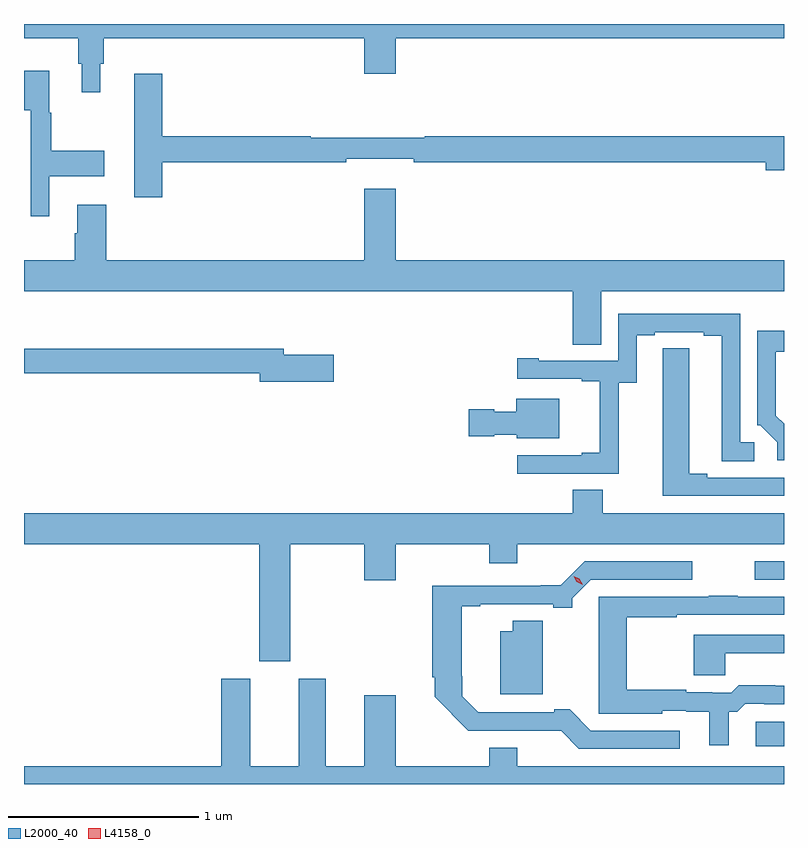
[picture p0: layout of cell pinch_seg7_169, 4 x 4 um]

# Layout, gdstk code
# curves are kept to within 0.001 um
import gdstk
lib = gdstk.Library(unit=1e-6, precision=1e-09)
def R(c, l, rs):  # rectangles x0, y0, x1, y1
    for r in rs: c.add(gdstk.rectangle(r[:2], r[2:], *l))
def P(c, l, *ps):  # polygons
    for p in ps: c.add(gdstk.Polygon(p, *l))
L2000_40 = (2000, 40)
L4158_0 = (4158, 0)

pinch_seg7_169 = lib.new_cell('pinch_seg7_169')
R(pinch_seg7_169, L2000_40, [(1126.107,1007.547,1126.256,1007.674), (1126.101,1008.423,1126.256,1008.519)])
P(pinch_seg7_169, L2000_40, [(1122.658,1011.138),(1122.677,1011.138),(1122.677,1011.272),(1124.048,1011.272),(1124.048,1011.084),(1124.212,1011.084),(1124.212,1011.272),(1126.256,1011.272),(1126.256,1011.347),(1122.256,1011.347),(1122.256,1011.272),(1122.541,1011.272),(1122.541,1011.138),(1122.56,1011.138),(1122.56,1010.988),(1122.658,1010.988)],
  [(1122.388,1010.546),(1122.679,1010.546),(1122.679,1010.681),(1122.4,1010.681),(1122.4,1010.88),(1122.388,1010.88),(1122.388,1011.1),(1122.256,1011.1),(1122.256,1010.894),(1122.291,1010.894),(1122.291,1010.334),(1122.388,1010.334)],
  [(1122.983,1010.62),(1123.952,1010.62),(1123.952,1010.639),(1124.308,1010.639),(1124.308,1010.62),(1126.16,1010.62),(1126.16,1010.578),(1126.256,1010.578),(1126.256,1010.756),(1124.366,1010.756),(1124.366,1010.749),(1123.766,1010.749),(1123.766,1010.756),(1122.983,1010.756),(1122.983,1011.085),(1122.836,1011.085),(1122.836,1010.436),(1122.983,1010.436)],
  [(1125.295,1009.94),(1126.256,1009.94),(1126.256,1010.104),(1124.212,1010.104),(1124.212,1010.479),(1124.048,1010.479),(1124.048,1010.104),(1122.689,1010.104),(1122.689,1010.395),(1122.536,1010.395),(1122.536,1010.246),(1122.524,1010.246),(1122.524,1010.104),(1122.256,1010.104),(1122.256,1009.94),(1125.143,1009.94),(1125.143,1009.66),(1125.295,1009.66)],
  [(1125.387,1009.459),(1125.481,1009.459),(1125.481,1009.71),(1125.577,1009.71),(1125.577,1009.725),(1125.833,1009.725),(1125.833,1009.705),(1125.929,1009.705),(1125.929,1009.045),(1126.099,1009.045),(1126.099,1009.146),(1126.026,1009.146),(1126.026,1009.821),(1125.384,1009.821),(1125.384,1009.575),(1124.965,1009.575),(1124.965,1009.588),(1124.853,1009.588),(1124.853,1009.479),(1125.191,1009.479),(1125.191,1009.467),(1125.287,1009.467),(1125.287,1009.09),(1125.191,1009.09),(1125.191,1009.077),(1124.853,1009.077),(1124.853,1008.981),(1125.387,1008.981)],
  [(1126.256,1009.243),(1126.213,1009.286),(1126.213,1009.623),(1126.256,1009.623),(1126.256,1009.733),(1126.116,1009.733),(1126.116,1009.236),(1126.131,1009.236),(1126.221,1009.146),(1126.221,1009.05),(1126.256,1009.05)],
  [(1126.256,1008.96),(1125.853,1008.96),(1125.853,1008.98),(1125.757,1008.98),(1125.757,1009.64),(1125.618,1009.64),(1125.618,1009.532),(1125.617,1009.532),(1125.617,1008.864),(1126.256,1008.864)],
  [(1123.885,1009.605),(1123.624,1009.605),(1123.624,1009.639),(1122.256,1009.639),(1122.256,1009.51),(1123.496,1009.51),(1123.496,1009.463),(1123.885,1009.463)],
  [(1125.073,1009.375),(1124.846,1009.375),(1124.846,1009.306),(1124.73,1009.306),(1124.73,1009.319),(1124.598,1009.319),(1124.598,1009.177),(1124.73,1009.177),(1124.73,1009.184),(1124.85,1009.184),(1124.85,1009.166),(1125.073,1009.166)],
  [(1123.657,1008.608),(1124.048,1008.608),(1124.048,1008.42),(1124.212,1008.42),(1124.212,1008.608),(1124.704,1008.608),(1124.704,1008.509),(1124.851,1008.509),(1124.851,1008.608),(1126.256,1008.608),(1126.256,1008.772),(1125.303,1008.772),(1125.303,1008.896),(1125.143,1008.896),(1125.143,1008.772),(1122.256,1008.772),(1122.256,1008.608),(1123.493,1008.608),(1123.493,1007.994),(1123.657,1007.994)],
  [(1125.706,1007.628),(1125.24,1007.628),(1125.128,1007.74),(1125.047,1007.74),(1125.047,1007.724),(1124.646,1007.724),(1124.563,1007.808),(1124.563,1007.914),(1124.56,1007.914),(1124.56,1008.282),(1124.656,1008.282),(1124.656,1008.294),(1125.041,1008.294),(1125.041,1008.274),(1125.141,1008.274),(1125.141,1008.324),(1125.24,1008.423),(1125.772,1008.423),(1125.772,1008.519),(1125.207,1008.519),(1125.08,1008.392),(1124.975,1008.392),(1124.975,1008.39),(1124.405,1008.39),(1124.405,1007.908),(1124.417,1007.908),(1124.417,1007.806),(1124.595,1007.628),(1125.083,1007.627),(1125.177,1007.532),(1125.706,1007.532)],
  [(1125.964,1007.726),(1126.01,1007.726),(1126.053,1007.769),(1126.153,1007.769),(1126.153,1007.766),(1126.256,1007.766),(1126.256,1007.863),(1126.211,1007.863),(1126.211,1007.866),(1126.018,1007.866),(1125.978,1007.826),(1125.878,1007.826),(1125.878,1007.829),(1125.741,1007.829),(1125.741,1007.842),(1125.429,1007.842),(1125.429,1008.225),(1125.692,1008.225),(1125.692,1008.237),(1126.256,1008.237),(1126.256,1008.333),(1126.013,1008.333),(1126.013,1008.338),(1125.859,1008.338),(1125.859,1008.333),(1125.281,1008.333),(1125.281,1007.717),(1125.615,1007.717),(1125.615,1007.733),(1125.741,1007.733),(1125.741,1007.726),(1125.863,1007.726),(1125.863,1007.55),(1125.964,1007.55)],
  [(1124.986,1008.205),(1124.828,1008.205),(1124.828,1008.151),(1124.762,1008.151),(1124.762,1007.819),(1124.986,1007.819)],
  [(1125.947,1008.035),(1126.256,1008.035),(1126.256,1008.132),(1125.781,1008.132),(1125.781,1007.919),(1125.947,1007.919)],
  [(1126.256,1007.44),(1124.851,1007.44),(1124.851,1007.539),(1124.704,1007.539),(1124.704,1007.44),(1124.212,1007.44),(1124.212,1007.815),(1124.048,1007.815),(1124.048,1007.44),(1123.843,1007.44),(1123.843,1007.902),(1123.703,1007.902),(1123.703,1007.44),(1123.447,1007.44),(1123.447,1007.902),(1123.295,1007.902),(1123.295,1007.44),(1122.256,1007.44),(1122.256,1007.347),(1126.256,1007.347)])
P(pinch_seg7_169, L4158_0, [(1125.197,1008.396),(1125.166,1008.411),(1125.149,1008.441),(1125.149,1008.441),(1125.149,1008.441),(1125.179,1008.426),(1125.197,1008.397),(1125.197,1008.396)])

lib.write_gds('pinch_seg7_169.gds')
